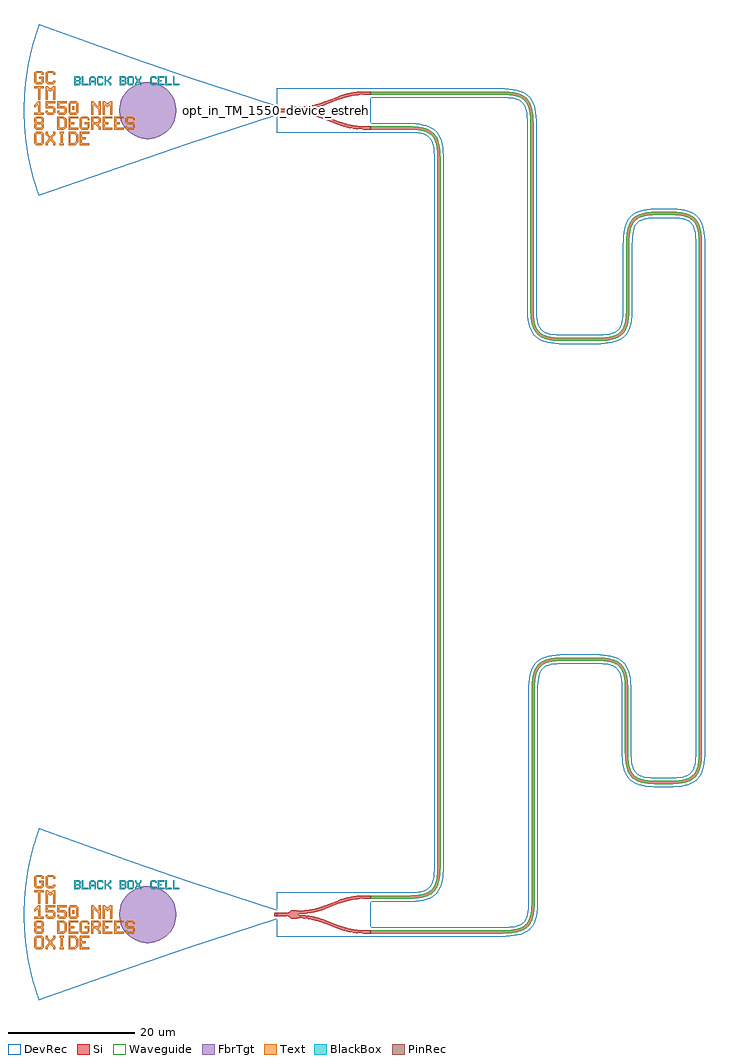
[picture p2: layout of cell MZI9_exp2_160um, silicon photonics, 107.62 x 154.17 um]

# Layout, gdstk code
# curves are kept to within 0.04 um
import gdstk
lib = gdstk.Library(unit=1e-6, precision=1e-09)
def R(c, l, rs):  # rectangles x0, y0, x1, y1
    for r in rs: c.add(gdstk.rectangle(r[:2], r[2:], *l))
def P(c, l, *ps):  # polygons
    for p in ps: c.add(gdstk.Polygon(p, *l))
Si = (1, 0)
PinRec = (1, 10)
Waveguide = (1, 99)
Text = (10, 0)
DevRec = (68, 0)
FbrTgt = (81, 0)
BlackBox = (998, 0)

text = lib.new_cell('TEXT')
P(text, BlackBox, [(13.2,0),(13.2,1.4),(14.2,1.4),(14.2,1.2),(13.4,1.2),(13.4,0.8),(13.8,0.8),(13.8,0.6),(13.4,0.6),(13.4,0.2),(14.2,0.2),(14.2,0)],
  [(9.6,0),(9.6,0.3),(9.9,0.6),(9.9,0.8),(9.6,1.1),(9.6,1.4),(9.8,1.4),(9.8,1.2),(10.1,0.9),(10.4,1.2),(10.4,1.4),(10.6,1.4),(10.6,1.1),(10.3,0.8),(10.3,0.6),(10.6,0.3),(10.6,0),(10.4,0),(10.4,0.2),(10.1,0.5),(9.8,0.2),(9.8,0)],
  [(8.6,0),(8.4,0.2),(8.4,1.2),(8.6,1.4),(9.2,1.4),(9.4,1.2),(9.4,0.7),(9.2,0.7),(9.2,1.1),(9.1,1.2),(8.7,1.2),(8.6,1.1),(8.6,0.3),(8.7,0.2),(9.1,0.2),(9.2,0.3),(9.2,0.7),(9.4,0.7),(9.4,0.2),(9.2,0)],
  [(4.8,0),(4.8,1.4),(5,1.4),(5,0.8),(5.2,0.8),(5.6,1.2),(5.6,1.4),(5.8,1.4),(5.8,1.1),(5.4,0.7),(5.8,0.3),(5.8,0),(5.6,0),(5.6,0.2),(5.2,0.6),(5,0.6),(5,0)],
  [(3.8,0),(3.6,0.2),(3.6,1.2),(3.8,1.4),(4.4,1.4),(4.6,1.2),(4.6,1),(4.4,1),(4.4,1.1),(4.3,1.2),(3.9,1.2),(3.8,1.1),(3.8,0.3),(3.9,0.2),(4.3,0.2),(4.4,0.3),(4.4,0.4),(4.6,0.4),(4.6,0.2),(4.4,0)],
  [(12.2,0),(12,0.2),(12,1.2),(12.2,1.4),(12.8,1.4),(13,1.2),(13,1),(12.8,1),(12.8,1.1),(12.7,1.2),(12.3,1.2),(12.2,1.1),(12.2,0.3),(12.3,0.2),(12.7,0.2),(12.8,0.3),(12.8,0.4),(13,0.4),(13,0.2),(12.8,0)],
  [(2.4,0),(2.4,1.1),(2.7,1.4),(3.1,1.4),(3.3,1.2),(2.8,1.2),(2.6,1),(2.6,0.7),(3.2,0.7),(3.2,1),(3,1.2),(3.3,1.2),(3.4,1.1),(3.4,0),(3.2,0),(3.2,0.5),(2.6,0.5),(2.6,0)],
  [(1.2,0),(1.2,1.4),(1.4,1.4),(1.4,0.2),(2.2,0.2),(2.2,0)],
  [(14.4,0),(14.4,1.4),(14.6,1.4),(14.6,0.2),(15.4,0.2),(15.4,0)],
  [(15.6,0),(15.6,1.4),(15.8,1.4),(15.8,0.2),(16.6,0.2),(16.6,0)],
  [(0,0),(0,1.4),(0.8,1.4),(1,1.2),(0.2,1.2),(0.2,0.8),(0.7,0.8),(0.8,0.9),(0.8,1.1),(0.7,1.2),(1,1.2),(1,0.8),(0.9,0.7),(1,0.6),(0.2,0.6),(0.2,0.2),(0.7,0.2),(0.8,0.3),(0.8,0.5),(0.7,0.6),(1,0.6),(1,0.2),(0.8,0)],
  [(7.2,0),(7.2,1.4),(8,1.4),(8.2,1.2),(7.4,1.2),(7.4,0.8),(7.9,0.8),(8,0.9),(8,1.1),(7.9,1.2),(8.2,1.2),(8.2,0.8),(8.1,0.7),(8.2,0.6),(7.4,0.6),(7.4,0.2),(7.9,0.2),(8,0.3),(8,0.5),(7.9,0.6),(8.2,0.6),(8.2,0.2),(8,0)])

gc_tm_1550_8degoxide_bb = lib.new_cell('GC_TM_1550_8degOxide_BB')
R(gc_tm_1550_8degoxide_bb, Si, [(-0.4,-0.25,0,0.25)])
R(gc_tm_1550_8degoxide_bb, Text, [(-32.313,0.092,-32.013,0.692)])
P(gc_tm_1550_8degoxide_bb, Text, [(-30.813,-3.058),(-31.113,-2.758),(-31.113,-1.258),(-30.813,-0.958),(-29.913,-0.958),(-29.613,-1.258),(-29.613,-1.558),(-29.913,-1.558),(-29.913,-1.408),(-30.063,-1.258),(-30.663,-1.258),(-30.813,-1.408),(-30.813,-2.608),(-30.663,-2.758),(-30.063,-2.758),(-29.913,-2.608),(-29.913,-2.158),(-30.363,-2.158),(-30.363,-1.858),(-29.613,-1.858),(-29.613,-2.758),(-29.913,-3.058)],
  [(-38.013,4.142),(-38.313,4.442),(-38.313,5.942),(-38.013,6.242),(-37.113,6.242),(-36.813,5.942),(-36.813,5.642),(-37.113,5.642),(-37.113,5.792),(-37.263,5.942),(-37.863,5.942),(-38.013,5.792),(-38.013,4.592),(-37.863,4.442),(-37.263,4.442),(-37.113,4.592),(-37.113,5.042),(-37.563,5.042),(-37.563,5.342),(-36.813,5.342),(-36.813,4.442),(-37.113,4.142)],
  [(-36.513,-5.458),(-36.513,-5.008),(-36.063,-4.558),(-36.063,-4.258),(-36.513,-3.808),(-36.513,-3.358),(-36.213,-3.358),(-36.213,-3.658),(-35.763,-4.108),(-35.313,-3.658),(-35.313,-3.358),(-35.013,-3.358),(-35.013,-3.808),(-35.463,-4.258),(-35.463,-4.558),(-35.013,-5.008),(-35.013,-5.458),(-35.313,-5.458),(-35.313,-5.158),(-35.763,-4.708),(-36.213,-5.158),(-36.213,-5.458)],
  [(-37.713,1.742),(-37.713,3.542),(-38.313,3.542),(-38.313,3.842),(-36.813,3.842),(-36.813,3.542),(-37.413,3.542),(-37.413,1.742)],
  [(-38.013,-5.458),(-38.313,-5.158),(-38.313,-3.658),(-38.013,-3.358),(-37.113,-3.358),(-36.813,-3.658),(-36.813,-4.408),(-37.113,-4.408),(-37.113,-3.808),(-37.263,-3.658),(-37.863,-3.658),(-38.013,-3.808),(-38.013,-5.008),(-37.863,-5.158),(-37.263,-5.158),(-37.113,-5.008),(-37.113,-4.408),(-36.813,-4.408),(-36.813,-5.158),(-37.113,-5.458)],
  [(-31.113,-5.458),(-31.113,-3.358),(-29.613,-3.358),(-29.613,-3.658),(-30.813,-3.658),(-30.813,-4.258),(-30.213,-4.258),(-30.213,-4.558),(-30.813,-4.558),(-30.813,-5.158),(-29.613,-5.158),(-29.613,-5.458)],
  [(-32.913,-3.058),(-32.913,-0.958),(-31.413,-0.958),(-31.413,-1.258),(-32.613,-1.258),(-32.613,-1.858),(-32.013,-1.858),(-32.013,-2.158),(-32.613,-2.158),(-32.613,-2.758),(-31.413,-2.758),(-31.413,-3.058)],
  [(-27.513,-3.058),(-27.513,-0.958),(-26.013,-0.958),(-26.013,-1.258),(-27.213,-1.258),(-27.213,-1.858),(-26.613,-1.858),(-26.613,-2.158),(-27.213,-2.158),(-27.213,-2.758),(-26.013,-2.758),(-26.013,-3.058)],
  [(-25.713,-3.058),(-25.713,-0.958),(-24.213,-0.958),(-24.213,-1.258),(-25.413,-1.258),(-25.413,-1.858),(-24.813,-1.858),(-24.813,-2.158),(-25.413,-2.158),(-25.413,-2.758),(-24.213,-2.758),(-24.213,-3.058)],
  [(-29.313,-0.658),(-29.313,1.442),(-29.013,1.442),(-28.263,0.692),(-28.113,0.692),(-28.113,1.442),(-27.813,1.442),(-27.813,-0.658),(-28.113,-0.658),(-28.113,0.092),(-28.863,0.842),(-29.013,0.842),(-29.013,-0.658)],
  [(-34.263,-5.458),(-34.263,-5.158),(-34.113,-5.158),(-34.113,-3.658),(-34.263,-3.658),(-34.263,-3.358),(-33.663,-3.358),(-33.663,-3.658),(-33.813,-3.658),(-33.813,-5.158),(-33.663,-5.158),(-33.663,-5.458)],
  [(-36.213,4.142),(-36.513,4.442),(-36.513,5.942),(-36.213,6.242),(-35.313,6.242),(-35.013,5.942),(-35.013,5.642),(-35.313,5.642),(-35.313,5.792),(-35.463,5.942),(-36.063,5.942),(-36.213,5.792),(-36.213,4.592),(-36.063,4.442),(-35.463,4.442),(-35.313,4.592),(-35.313,4.742),(-35.013,4.742),(-35.013,4.442),(-35.313,4.142)],
  [(-27.513,-0.658),(-27.513,1.442),(-27.213,1.442),(-26.913,1.142),(-26.613,1.142),(-26.313,1.442),(-26.013,1.442),(-26.013,-0.658),(-26.313,-0.658),(-26.313,0.842),(-26.463,0.842),(-26.763,0.542),(-27.063,0.842),(-27.213,0.842),(-27.213,-0.658)],
  [(-36.513,1.742),(-36.513,3.842),(-36.213,3.842),(-35.913,3.542),(-35.613,3.542),(-35.313,3.842),(-35.013,3.842),(-35.013,1.742),(-35.313,1.742),(-35.313,3.242),(-35.463,3.242),(-35.763,2.942),(-36.063,3.242),(-36.213,3.242),(-36.213,1.742)],
  [(-29.313,-3.058),(-29.313,-0.958),(-28.113,-0.958),(-27.813,-1.258),(-29.013,-1.258),(-29.013,-1.858),(-28.263,-1.858),(-28.113,-1.708),(-28.113,-1.408),(-28.263,-1.258),(-27.813,-1.258),(-27.813,-1.858),(-28.113,-2.158),(-28.113,-2.308),(-27.813,-2.608),(-27.813,-3.058),(-28.113,-3.058),(-28.113,-2.758),(-28.713,-2.158),(-29.013,-2.158),(-29.013,-3.058)],
  [(-32.613,-0.658),(-32.913,-0.358),(-32.913,1.142),(-32.613,1.442),(-31.713,1.442),(-31.413,1.142),(-32.463,1.142),(-32.613,0.992),(-32.613,-0.208),(-32.463,-0.358),(-31.863,-0.358),(-31.713,-0.208),(-31.713,0.992),(-31.863,1.142),(-31.413,1.142),(-31.413,-0.358),(-31.713,-0.658)],
  [(-38.013,-3.058),(-38.313,-2.758),(-38.313,-2.158),(-38.163,-2.008),(-38.313,-1.858),(-38.313,-1.258),(-38.013,-0.958),(-37.113,-0.958),(-36.813,-1.258),(-37.863,-1.258),(-38.013,-1.408),(-38.013,-1.708),(-37.863,-1.858),(-37.263,-1.858),(-37.113,-1.708),(-37.113,-1.408),(-37.263,-1.258),(-36.813,-1.258),(-36.813,-1.858),(-36.963,-2.008),(-36.813,-2.158),(-37.863,-2.158),(-38.013,-2.308),(-38.013,-2.608),(-37.863,-2.758),(-37.263,-2.758),(-37.113,-2.608),(-37.113,-2.308),(-37.263,-2.158),(-36.813,-2.158),(-36.813,-2.758),(-37.113,-3.058)],
  [(-32.913,-5.458),(-32.913,-3.358),(-31.863,-3.358),(-31.563,-3.658),(-32.613,-3.658),(-32.613,-5.158),(-32.013,-5.158),(-31.713,-4.858),(-31.713,-3.958),(-32.013,-3.658),(-31.563,-3.658),(-31.413,-3.808),(-31.413,-5.008),(-31.863,-5.458)],
  [(-34.713,-3.058),(-34.713,-0.958),(-33.663,-0.958),(-33.363,-1.258),(-34.413,-1.258),(-34.413,-2.758),(-33.813,-2.758),(-33.513,-2.458),(-33.513,-1.558),(-33.813,-1.258),(-33.363,-1.258),(-33.213,-1.408),(-33.213,-2.608),(-33.663,-3.058)],
  [(-36.213,-0.658),(-36.513,-0.358),(-36.513,-0.058),(-36.213,-0.058),(-36.213,-0.208),(-36.063,-0.358),(-35.463,-0.358),(-35.313,-0.208),(-35.313,0.242),(-35.463,0.392),(-36.513,0.392),(-36.513,1.442),(-35.013,1.442),(-35.013,1.142),(-36.213,1.142),(-36.213,0.692),(-35.313,0.692),(-35.013,0.392),(-35.013,-0.358),(-35.313,-0.658)],
  [(-34.413,-0.658),(-34.713,-0.358),(-34.713,-0.058),(-34.413,-0.058),(-34.413,-0.208),(-34.263,-0.358),(-33.663,-0.358),(-33.513,-0.208),(-33.513,0.242),(-33.663,0.392),(-34.713,0.392),(-34.713,1.442),(-33.213,1.442),(-33.213,1.142),(-34.413,1.142),(-34.413,0.692),(-33.513,0.692),(-33.213,0.392),(-33.213,-0.358),(-33.513,-0.658)],
  [(-23.613,-3.058),(-23.913,-2.758),(-23.913,-2.458),(-23.613,-2.458),(-23.613,-2.608),(-23.463,-2.758),(-22.863,-2.758),(-22.713,-2.608),(-22.713,-2.308),(-22.863,-2.158),(-23.613,-2.158),(-23.913,-1.858),(-23.913,-1.258),(-23.613,-0.958),(-22.713,-0.958),(-22.413,-1.258),(-22.413,-1.558),(-22.713,-1.558),(-22.713,-1.408),(-22.863,-1.258),(-23.463,-1.258),(-23.613,-1.408),(-23.613,-1.708),(-23.463,-1.858),(-22.713,-1.858),(-22.413,-2.158),(-22.413,-2.758),(-22.713,-3.058)],
  [(-38.313,-0.658),(-38.313,-0.358),(-37.713,-0.358),(-37.713,0.842),(-37.863,0.842),(-38.163,0.542),(-38.313,0.542),(-38.313,0.842),(-37.713,1.442),(-37.413,1.442),(-37.413,-0.358),(-36.813,-0.358),(-36.813,-0.658)])
P(gc_tm_1550_8degoxide_bb, DevRec, [(-37.607,-13.5),(-38.627,-10.245),(-39.378,-6.832),(-39.647,-5.058),(-39.835,-3.274),(-39.969,0.224),(-39.812,3.541),(-39.331,7.097),(-38.557,10.505),(-37.546,13.669),(-22.8,8.353),(-14.109,5.36),(0,0.75),(0,-0.75),(-14.109,-5.36)])
P(gc_tm_1550_8degoxide_bb, FbrTgt, [(-20.621,-4.5),(-21.495,-4.37),(-22.326,-4.073),(-23.084,-3.619),(-23.738,-3.026),(-24.264,-2.316),(-24.642,-1.518),(-24.857,-0.661),(-24.9,0.221),(-24.77,1.095),(-24.473,1.926),(-24.019,2.684),(-23.426,3.338),(-22.716,3.864),(-21.918,4.242),(-21.061,4.457),(-20.179,4.5),(-19.305,4.37),(-18.474,4.073),(-17.716,3.619),(-17.062,3.026),(-16.536,2.316),(-16.158,1.518),(-15.943,0.661),(-15.9,-0.221),(-16.03,-1.095),(-16.327,-1.926),(-16.781,-2.684),(-17.374,-3.338),(-18.084,-3.864),(-18.882,-4.242),(-19.739,-4.457)])
gc_tm_1550_8degoxide_bb.add(gdstk.FlexPath([(-0.01,0),(0.01,0)], 0.5, ends="flush", simple_path=True, layer=1, datatype=10))  # PinRec
gc_tm_1550_8degoxide_bb.add(gdstk.Reference(text, (-32,4)))
gc_tm_1550_8degoxide_bb.add(gdstk.Label('opt1', (0,0), layer=1, texttype=10))
gc_tm_1550_8degoxide_bb.add(gdstk.Label('Component=GC_TM_1550_8degOxide_BB', (-28,-5), layer=68, texttype=0))
gc_tm_1550_8degoxide_bb.add(gdstk.Label('Lumerical_INTERCONNECT_library=Design kits/ebeam', (-29,-7), layer=68, texttype=0))

ebeam_y_1550 = lib.new_cell('ebeam_y_1550')
R(ebeam_y_1550, Si, [(6.5,-3,7.4,-2.5), (-7.4,-0.25,-6,0.25), (6.5,2.5,7.4,3)])
P(ebeam_y_1550, Si, [(6.458,-3),(6.237,-2.997),(6.237,-2.497),(6.5,-2.5),(6.5,-3)],
  [(2.265,-2.21),(0.055,-1.356),(0.235,-0.89),(2.445,-1.744)],
  [(5.033,-2.908),(3.59,-2.634),(2.265,-2.21),(2.445,-1.744),(3.731,-2.154),(5.033,-2.404)],
  [(-0.762,0.555),(-0.762,1.076),(0.055,1.356),(0.235,0.89)],
  [(-5.122,-0.662),(-5.442,-0.374),(-5.808,-0.255),(-6,-0.25),(-6,0.25),(-5.817,0.253),(-5.442,0.374),(-5.122,0.662)],
  [(-4.957,-0.703),(-5.122,-0.662),(-5.122,0.662),(-4.538,0.703),(-4,0.6),(-4,-0.6),(-4.509,-0.701)],
  [(0.055,-1.356),(-0.762,-1.076),(-0.762,-0.555),(0.235,-0.89)],
  [(6.237,2.497),(6.237,2.997),(6.5,3),(6.5,2.5)],
  [(-0.762,-1.076),(-2.334,-0.724),(-4,-0.6),(-4,-0.1),(-2.381,-0.212),(-0.762,-0.555)],
  [(5.033,2.404),(5.033,2.908),(6.237,2.997),(6.237,2.497)],
  [(6.233,-2.997),(5.033,-2.908),(5.033,-2.404),(6.237,-2.497)],
  [(0.235,0.89),(0.055,1.356),(2.265,2.21),(2.445,1.744)],
  [(2.445,1.744),(2.267,2.211),(3.59,2.634),(5.033,2.908),(5.033,2.404),(3.731,2.154)],
  [(-4,0.1),(-4,0.6),(-2.334,0.724),(-0.762,1.076),(-0.762,0.555),(-2.381,0.212)])
R(ebeam_y_1550, DevRec, [(-7.4,-3.5,7.4,3.5)])
ebeam_y_1550.add(gdstk.FlexPath([(7.35,-2.75),(7.45,-2.75)], 0.5, ends="flush", simple_path=True, layer=1, datatype=10))  # PinRec
ebeam_y_1550.add(gdstk.FlexPath([(7.35,2.75),(7.45,2.75)], 0.5, ends="flush", simple_path=True, layer=1, datatype=10))  # PinRec
ebeam_y_1550.add(gdstk.FlexPath([(-7.35,0),(-7.45,0)], 0.5, ends="flush", simple_path=True, layer=1, datatype=10))  # PinRec
ebeam_y_1550.add(gdstk.Label('opt1', (-7.4,0), layer=1, texttype=10))
ebeam_y_1550.add(gdstk.Label('opt3', (7.4,-2.75), layer=1, texttype=10))
ebeam_y_1550.add(gdstk.Label('opt2', (7.4,2.75), layer=1, texttype=10))
ebeam_y_1550.add(gdstk.Label('Lumerical_INTERCONNECT_library=Design kits/ebeam', (-6.86,-2.19), layer=68, texttype=0))
ebeam_y_1550.add(gdstk.Label('Component=ebeam_y_1550', (-6,1.5), layer=68, texttype=0))
ebeam_y_1550.add(gdstk.Label('Ref: Y Zhang, Opt. Express, 21/1, 2013', (-7.5,-1), layer=10, texttype=0))

waveguide_3 = lib.new_cell('Waveguide$3')
P(waveguide_3, Si, [(14.8,2.5),(14.8,3),(21.431,3.017),(22.646,3.137),(23.583,3.389),(24.269,3.784),(24.567,4.082),(24.811,4.446),(25.156,5.408),(25.324,6.728),(25.352,119.25),(25.299,120.635),(25.088,121.862),(24.696,122.743),(24.425,123.073),(24.096,123.343),(23.344,123.696),(22.492,123.887),(21.234,123.99),(14.8,124),(14.8,124.5),(21.652,124.472),(22.733,124.354),(23.635,124.125),(24.374,123.759),(24.869,123.332),(25.25,122.793),(25.568,122),(25.758,121.04),(25.843,119.897),(25.824,6.7),(25.644,5.3),(25.477,4.717),(25.249,4.206),(24.684,3.483),(24.262,3.169),(23.769,2.925),(22.732,2.645),(21.453,2.517)])
P(waveguide_3, Waveguide, [(14.8,2.5),(14.8,3),(21.431,3.017),(22.646,3.137),(23.583,3.389),(24.269,3.784),(24.567,4.082),(24.811,4.446),(25.156,5.408),(25.324,6.728),(25.352,119.25),(25.299,120.635),(25.088,121.862),(24.696,122.743),(24.425,123.073),(24.096,123.343),(23.344,123.696),(22.492,123.887),(21.234,123.99),(14.8,124),(14.8,124.5),(21.652,124.472),(22.733,124.354),(23.635,124.125),(24.374,123.759),(24.869,123.332),(25.25,122.793),(25.568,122),(25.758,121.04),(25.843,119.897),(25.824,6.7),(25.644,5.3),(25.477,4.717),(25.249,4.206),(24.684,3.483),(24.262,3.169),(23.769,2.925),(22.732,2.645),(21.453,2.517)])
P(waveguide_3, DevRec, [(14.8,2),(14.8,3.5),(21.251,3.51),(22.346,3.597),(23.497,3.895),(23.977,4.192),(24.159,4.374),(24.456,4.854),(24.676,5.556),(24.809,6.519),(24.852,7.75),(24.852,119.25),(24.81,120.48),(24.677,121.443),(24.317,122.408),(24.16,122.625),(23.761,122.964),(23.178,123.224),(22.347,123.402),(21.252,123.489),(14.8,123.5),(14.8,125),(21.953,124.953),(23.112,124.79),(24.112,124.472),(24.952,123.947),(25.3,123.599),(25.591,123.2),(26.007,122.277),(26.241,121.202),(26.342,119.951),(26.352,7.75),(26.305,6.399),(26.142,5.24),(26.006,4.722),(25.59,3.799),(24.951,3.052),(24.111,2.527),(23.111,2.209),(21.952,2.046)])
waveguide_3.add(gdstk.FlexPath([(14.81,2.75),(14.79,2.75)], 0.5, ends="flush", simple_path=True, layer=1, datatype=10))  # PinRec
waveguide_3.add(gdstk.FlexPath([(14.81,124.25),(14.79,124.25)], 0.5, ends="flush", simple_path=True, layer=1, datatype=10))  # PinRec
waveguide_3.add(gdstk.Label('opt2', (14.8,124.25), layer=1, texttype=10))
waveguide_3.add(gdstk.Label('opt1', (14.8,2.75), layer=1, texttype=10))
waveguide_3.add(gdstk.Label('Length=140.001 (microns)', (14.8,2.15), layer=68, texttype=0))
waveguide_3.add(gdstk.Label('Spice_param:wg_length=0.000140001 wg_width=5e-07 points="[[14.8,2.75],[25.602,2.75],[25.602,124.25],[14.8,124.25]]" radius=5e-06', (14.8,2.75), layer=68, texttype=0))
waveguide_3.add(gdstk.Label('waveguide_type=Strip TE 1550 nm, w=500 nm', (14.8,2.55), layer=68, texttype=0))
waveguide_3.add(gdstk.Label('cellName=Waveguide', (14.8,2.95), layer=68, texttype=0))
waveguide_3.add(gdstk.Label('Component=ebeam_wg_integral_1550', (14.8,2.85), layer=68, texttype=0))
waveguide_3.add(gdstk.Label('Lumerical_INTERCONNECT_library=Design kits/EBeam', (14.8,2.65), layer=68, texttype=0))

waveguide_8 = lib.new_cell('Waveguide$8')
P(waveguide_8, Si, [(54.769,-143.669),(54.769,-143.169),(76.657,-143.13),(77.792,-142.973),(78.544,-142.732),(79.118,-142.384),(79.603,-141.819),(79.856,-141.283),(80.035,-140.615),(80.196,-138.846),(80.228,-104.27),(80.408,-102.87),(80.74,-101.897),(81.273,-101.143),(82.028,-100.609),(83.001,-100.277),(84.401,-100.097),(91.25,-100.098),(92.331,-100.216),(93.233,-100.445),(93.972,-100.811),(94.552,-101.337),(94.911,-101.898),(95.166,-102.57),(95.332,-103.357),(95.423,-104.271),(95.452,-115.027),(95.541,-116.539),(95.679,-117.29),(95.938,-118.011),(96.235,-118.478),(96.707,-118.904),(97.107,-119.124),(97.721,-119.332),(98.994,-119.522),(102.5,-119.55),(104.21,-119.364),(105.172,-119.019),(105.765,-118.556),(106.182,-117.903),(106.481,-116.854),(106.58,-116.016),(106.618,-114.81),(106.618,-34.9),(106.564,-33.514),(106.353,-32.287),(105.961,-31.406),(105.691,-31.077),(105.361,-30.806),(104.48,-30.414),(103.253,-30.203),(99.962,-30.155),(98.345,-30.288),(97.648,-30.454),(97.086,-30.691),(96.722,-30.935),(96.359,-31.318),(96.076,-31.807),(95.868,-32.421),(95.667,-33.879),(95.638,-45.043),(95.545,-46.611),(95.355,-47.571),(95.1,-48.243),(94.656,-48.903),(94.161,-49.33),(93.687,-49.59),(93.14,-49.786),(91.821,-50.015),(90.611,-50.069),(85.26,-50.07),(83.828,-50.014),(82.81,-49.862),(81.962,-49.589),(81.379,-49.252),(80.827,-48.7),(80.435,-47.987),(80.185,-47.112),(80.037,-45.869),(80.005,-15.491),(79.956,-14.533),(79.814,-13.577),(79.62,-12.937),(79.353,-12.425),(78.842,-11.888),(78.124,-11.513),(77.149,-11.281),(76.089,-11.186),(54.769,-11.169),(54.769,-10.669),(75.481,-10.67),(77.39,-10.814),(78.153,-10.996),(78.682,-11.208),(79.14,-11.486),(79.526,-11.836),(79.84,-12.258),(80.135,-12.886),(80.302,-13.469),(80.436,-14.305),(80.51,-15.919),(80.519,-45.451),(80.622,-46.709),(80.854,-47.684),(81.166,-48.313),(81.677,-48.85),(82.166,-49.133),(82.647,-49.305),(84.053,-49.531),(91.021,-49.561),(92.279,-49.458),(93.131,-49.267),(93.883,-48.914),(94.355,-48.488),(94.652,-48.021),(94.875,-47.433),(95.027,-46.71),(95.112,-45.842),(95.141,-34.679),(95.234,-33.11),(95.424,-32.15),(95.679,-31.478),(96.123,-30.818),(96.618,-30.391),(97.092,-30.131),(97.639,-29.935),(98.958,-29.706),(102.305,-29.654),(103.998,-29.795),(105.035,-30.075),(105.851,-30.548),(106.448,-31.239),(106.833,-32.149),(107.044,-33.286),(107.118,-34.9),(107.118,-114.81),(107.078,-116.052),(106.973,-116.94),(106.638,-118.107),(106.135,-118.892),(105.412,-119.457),(104.901,-119.685),(104.318,-119.852),(103.482,-119.986),(102.516,-120.05),(98.958,-120.02),(97.45,-119.776),(96.903,-119.58),(96.429,-119.32),(95.934,-118.893),(95.49,-118.233),(95.235,-117.561),(95.045,-116.601),(94.952,-115.033),(94.923,-104.299),(94.838,-103.431),(94.686,-102.708),(94.463,-102.12),(94.166,-101.653),(93.694,-101.227),(93.065,-100.915),(92.09,-100.683),(91.03,-100.588),(84.429,-100.597),(83.109,-100.765),(82.25,-101.057),(81.868,-101.289),(81.554,-101.573),(81.137,-102.226),(80.866,-103.123),(80.728,-104.298),(80.696,-138.856),(80.627,-140.032),(80.493,-140.868),(80.275,-141.586),(79.96,-142.19),(79.331,-142.851),(78.618,-143.243),(77.743,-143.493),(76.5,-143.641)])
P(waveguide_8, Waveguide, [(54.769,-143.669),(54.769,-143.169),(76.657,-143.13),(77.792,-142.973),(78.544,-142.732),(79.118,-142.384),(79.603,-141.819),(79.856,-141.283),(80.035,-140.615),(80.196,-138.846),(80.228,-104.27),(80.408,-102.87),(80.74,-101.897),(81.273,-101.143),(82.028,-100.609),(83.001,-100.277),(84.401,-100.097),(91.25,-100.098),(92.331,-100.216),(93.233,-100.445),(93.972,-100.811),(94.552,-101.337),(94.911,-101.898),(95.166,-102.57),(95.332,-103.357),(95.423,-104.271),(95.452,-115.027),(95.541,-116.539),(95.679,-117.29),(95.938,-118.011),(96.235,-118.478),(96.707,-118.904),(97.107,-119.124),(97.721,-119.332),(98.994,-119.522),(102.5,-119.55),(104.21,-119.364),(105.172,-119.019),(105.765,-118.556),(106.182,-117.903),(106.481,-116.854),(106.58,-116.016),(106.618,-114.81),(106.618,-34.9),(106.564,-33.514),(106.353,-32.287),(105.961,-31.406),(105.691,-31.077),(105.361,-30.806),(104.48,-30.414),(103.253,-30.203),(99.962,-30.155),(98.345,-30.288),(97.648,-30.454),(97.086,-30.691),(96.722,-30.935),(96.359,-31.318),(96.076,-31.807),(95.868,-32.421),(95.667,-33.879),(95.638,-45.043),(95.545,-46.611),(95.355,-47.571),(95.1,-48.243),(94.656,-48.903),(94.161,-49.33),(93.687,-49.59),(93.14,-49.786),(91.821,-50.015),(90.611,-50.069),(85.26,-50.07),(83.828,-50.014),(82.81,-49.862),(81.962,-49.589),(81.379,-49.252),(80.827,-48.7),(80.435,-47.987),(80.185,-47.112),(80.037,-45.869),(80.005,-15.491),(79.956,-14.533),(79.814,-13.577),(79.62,-12.937),(79.353,-12.425),(78.842,-11.888),(78.124,-11.513),(77.149,-11.281),(76.089,-11.186),(54.769,-11.169),(54.769,-10.669),(75.481,-10.67),(77.39,-10.814),(78.153,-10.996),(78.682,-11.208),(79.14,-11.486),(79.526,-11.836),(79.84,-12.258),(80.135,-12.886),(80.302,-13.469),(80.436,-14.305),(80.51,-15.919),(80.519,-45.451),(80.622,-46.709),(80.854,-47.684),(81.166,-48.313),(81.677,-48.85),(82.166,-49.133),(82.647,-49.305),(84.053,-49.531),(91.021,-49.561),(92.279,-49.458),(93.131,-49.267),(93.883,-48.914),(94.355,-48.488),(94.652,-48.021),(94.875,-47.433),(95.027,-46.71),(95.112,-45.842),(95.141,-34.679),(95.234,-33.11),(95.424,-32.15),(95.679,-31.478),(96.123,-30.818),(96.618,-30.391),(97.092,-30.131),(97.639,-29.935),(98.958,-29.706),(102.305,-29.654),(103.998,-29.795),(105.035,-30.075),(105.851,-30.548),(106.448,-31.239),(106.833,-32.149),(107.044,-33.286),(107.118,-34.9),(107.118,-114.81),(107.078,-116.052),(106.973,-116.94),(106.638,-118.107),(106.135,-118.892),(105.412,-119.457),(104.901,-119.685),(104.318,-119.852),(103.482,-119.986),(102.516,-120.05),(98.958,-120.02),(97.45,-119.776),(96.903,-119.58),(96.429,-119.32),(95.934,-118.893),(95.49,-118.233),(95.235,-117.561),(95.045,-116.601),(94.952,-115.033),(94.923,-104.299),(94.838,-103.431),(94.686,-102.708),(94.463,-102.12),(94.166,-101.653),(93.694,-101.227),(93.065,-100.915),(92.09,-100.683),(91.03,-100.588),(84.429,-100.597),(83.109,-100.765),(82.25,-101.057),(81.868,-101.289),(81.554,-101.573),(81.137,-102.226),(80.866,-103.123),(80.728,-104.298),(80.696,-138.856),(80.627,-140.032),(80.493,-140.868),(80.275,-141.586),(79.96,-142.19),(79.331,-142.851),(78.618,-143.243),(77.743,-143.493),(76.5,-143.641)])
P(waveguide_8, DevRec, [(54.769,-144.169),(54.769,-142.669),(76.1,-142.658),(77.195,-142.571),(78.026,-142.393),(78.609,-142.133),(78.826,-141.976),(79.165,-141.577),(79.525,-140.612),(79.69,-139.068),(79.7,-105.32),(79.747,-103.969),(79.91,-102.81),(80.228,-101.81),(80.753,-100.97),(81.5,-100.331),(82.423,-99.915),(82.941,-99.779),(84.1,-99.616),(90.202,-99.57),(91.551,-99.617),(92.71,-99.78),(93.71,-100.098),(94.151,-100.332),(94.55,-100.623),(95.189,-101.37),(95.605,-102.293),(95.839,-103.368),(95.95,-105.319),(95.961,-115.46),(96.126,-117.004),(96.346,-117.706),(96.643,-118.186),(97.042,-118.525),(97.625,-118.785),(98.97,-119.018),(102.518,-119.049),(104.062,-118.884),(104.764,-118.664),(105.244,-118.367),(105.426,-118.185),(105.723,-117.705),(105.843,-117.385),(106.021,-116.554),(106.118,-114.81),(106.118,-34.9),(106.02,-33.155),(105.722,-32.004),(105.425,-31.524),(105.243,-31.342),(104.763,-31.045),(103.612,-30.747),(102.517,-30.66),(99.74,-30.661),(98.196,-30.826),(97.231,-31.186),(97.014,-31.343),(96.675,-31.742),(96.315,-32.707),(96.15,-34.251),(96.14,-44.821),(96.028,-46.773),(95.794,-47.848),(95.612,-48.33),(95.087,-49.17),(94.739,-49.518),(94.34,-49.809),(93.417,-50.225),(92.342,-50.459),(91.091,-50.56),(84.558,-50.559),(82.75,-50.36),(81.75,-50.042),(80.91,-49.517),(80.271,-48.77),(79.855,-47.847),(79.719,-47.329),(79.556,-46.17),(79.51,-44.82),(79.499,-15.269),(79.334,-13.725),(78.974,-12.76),(78.817,-12.543),(78.418,-12.204),(77.835,-11.944),(77.004,-11.766),(75.909,-11.679),(54.769,-11.669),(54.769,-10.169),(75.26,-10.169),(77.212,-10.28),(78.287,-10.514),(78.769,-10.696),(79.609,-11.221),(79.957,-11.569),(80.482,-12.409),(80.664,-12.891),(80.898,-13.966),(81.01,-15.919),(81.02,-45.469),(81.107,-46.564),(81.285,-47.395),(81.545,-47.978),(81.702,-48.195),(82.101,-48.534),(83.066,-48.894),(84.029,-49.027),(91.039,-49.06),(92.134,-48.973),(92.965,-48.795),(93.548,-48.535),(93.947,-48.196),(94.244,-47.716),(94.464,-47.014),(94.629,-45.47),(94.64,-34.899),(94.751,-32.948),(94.985,-31.873),(95.401,-30.95),(95.692,-30.551),(96.439,-29.912),(97.362,-29.496),(97.88,-29.36),(99.039,-29.197),(102.569,-29.16),(104.377,-29.359),(105.377,-29.677),(106.217,-30.202),(106.856,-30.949),(107.272,-31.872),(107.506,-32.947),(107.618,-34.9),(107.618,-114.81),(107.507,-116.762),(107.273,-117.837),(107.091,-118.319),(106.566,-119.159),(105.819,-119.798),(104.896,-120.214),(104.378,-120.35),(103.219,-120.513),(99.499,-120.55),(97.691,-120.351),(96.691,-120.033),(96.25,-119.799),(95.851,-119.508),(95.212,-118.761),(94.796,-117.838),(94.562,-116.763),(94.45,-114.811),(94.44,-104.671),(94.275,-103.127),(94.055,-102.425),(93.758,-101.945),(93.359,-101.606),(92.776,-101.346),(91.945,-101.168),(90.85,-101.081),(84.801,-101.08),(83.706,-101.167),(82.555,-101.465),(82.075,-101.762),(81.893,-101.944),(81.596,-102.424),(81.298,-103.575),(81.211,-104.67),(81.19,-139.12),(80.991,-140.928),(80.673,-141.928),(80.439,-142.369),(79.8,-143.116),(78.96,-143.641),(77.96,-143.959),(76.801,-144.122),(75.45,-144.169)])
waveguide_8.add(gdstk.FlexPath([(54.779,-143.419),(54.759,-143.419)], 0.5, ends="flush", simple_path=True, layer=1, datatype=10))  # PinRec
waveguide_8.add(gdstk.FlexPath([(54.779,-10.919),(54.759,-10.919)], 0.5, ends="flush", simple_path=True, layer=1, datatype=10))  # PinRec
waveguide_8.add(gdstk.Label('opt2', (54.769,-143.419), layer=1, texttype=10))
waveguide_8.add(gdstk.Label('opt1', (54.769,-10.919), layer=1, texttype=10))
waveguide_8.add(gdstk.Label('Length=300.001 (microns)', (54.769,-11.519), layer=68, texttype=0))
waveguide_8.add(gdstk.Label('waveguide_type=Strip TE 1550 nm, w=500 nm', (54.769,-11.119), layer=68, texttype=0))
waveguide_8.add(gdstk.Label('cellName=Waveguide', (54.769,-10.719), layer=68, texttype=0))
waveguide_8.add(gdstk.Label('Component=ebeam_wg_integral_1550', (54.769,-10.819), layer=68, texttype=0))
waveguide_8.add(gdstk.Label('Lumerical_INTERCONNECT_library=Design kits/EBeam', (54.769,-11.019), layer=68, texttype=0))

mzi9_exp2_160um = lib.new_cell('MZI9_exp2_160um')
mzi9_exp2_160um.add(gdstk.Reference(gc_tm_1550_8degoxide_bb, (39.97,-140.67)))
mzi9_exp2_160um.add(gdstk.Reference(gc_tm_1550_8degoxide_bb, (39.97,-13.67)))
mzi9_exp2_160um.add(gdstk.Reference(ebeam_y_1550, (47.37,-140.67)))
mzi9_exp2_160um.add(gdstk.Reference(ebeam_y_1550, (47.37,-13.67)))
mzi9_exp2_160um.add(gdstk.Reference(waveguide_3, (39.97,-140.67)))
mzi9_exp2_160um.add(gdstk.Reference(waveguide_8, (0.001,-0.001)))
mzi9_exp2_160um.add(gdstk.Label('opt_in_TM_1550_device_estrehlo_MZI9', (39.969,-13.669), layer=10, texttype=0))

lib.write_gds('MZI9_exp2_160um.gds')
